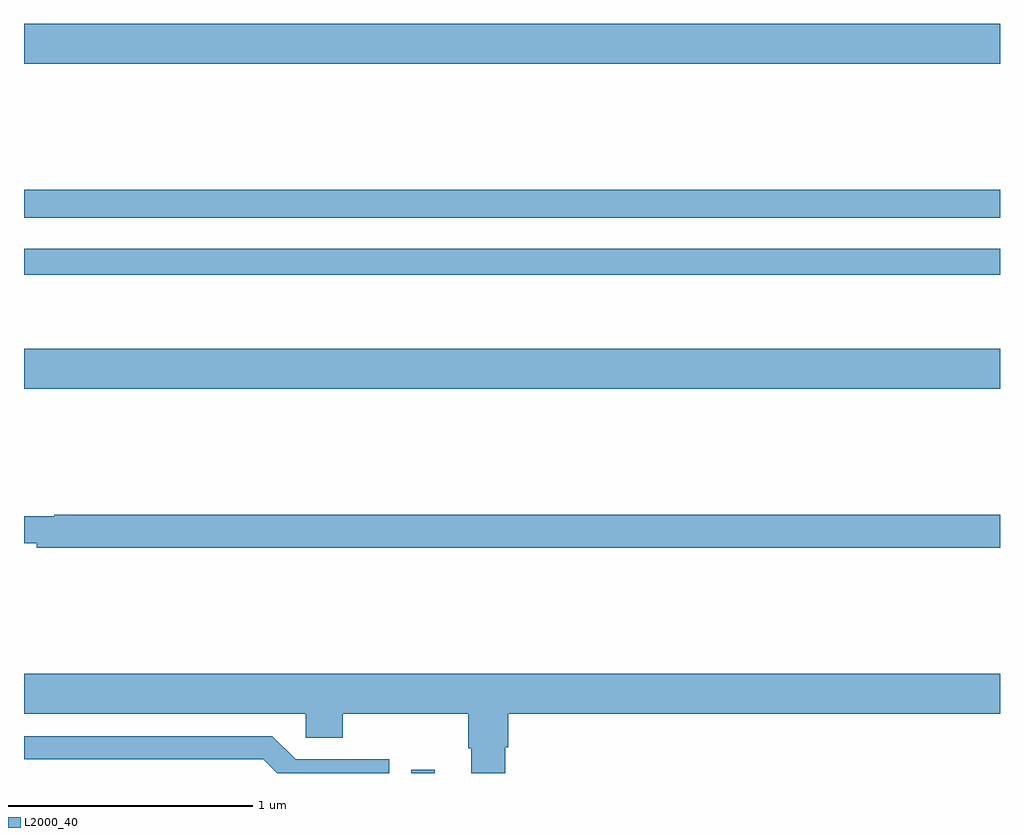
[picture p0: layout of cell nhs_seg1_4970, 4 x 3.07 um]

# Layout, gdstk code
import gdstk
lib = gdstk.Library(unit=1e-6, precision=1e-09)
def R(c, l, rs):  # rectangles x0, y0, x1, y1
    for r in rs: c.add(gdstk.rectangle(r[:2], r[2:], *l))
def P(c, l, *ps):  # polygons
    for p in ps: c.add(gdstk.Polygon(p, *l))
L2000_40 = (2000, 40)

nhs_seg1_4970 = lib.new_cell('nhs_seg1_4970')
R(nhs_seg1_4970, L2000_40, [(382.587,506.199,382.684,506.215), (381,507.776,385,507.94), (381,508.242,385,508.35), (381,508.476,385,508.592), (381,509.108,385,509.272)])
P(nhs_seg1_4970, L2000_40, [(385,507.26),(381.124,507.26),(381.124,507.253),(381,507.253),(381,507.143),(381.052,507.143),(381.052,507.124),(385,507.124)],
  [(382.972,506.307),(382.985,506.307),(382.985,506.444),(385,506.444),(385,506.608),(381,506.608),(381,506.444),(382.155,506.444),(382.155,506.346),(382.307,506.346),(382.307,506.444),(382.82,506.444),(382.82,506.302),(382.832,506.302),(382.832,506.199),(382.972,506.199)],
  [(382.497,506.256),(382.113,506.256),(382.017,506.352),(381,506.352),(381,506.256),(381.981,506.256),(382.038,506.199),(382.497,506.199)])

lib.write_gds('nhs_seg1_4970.gds')
